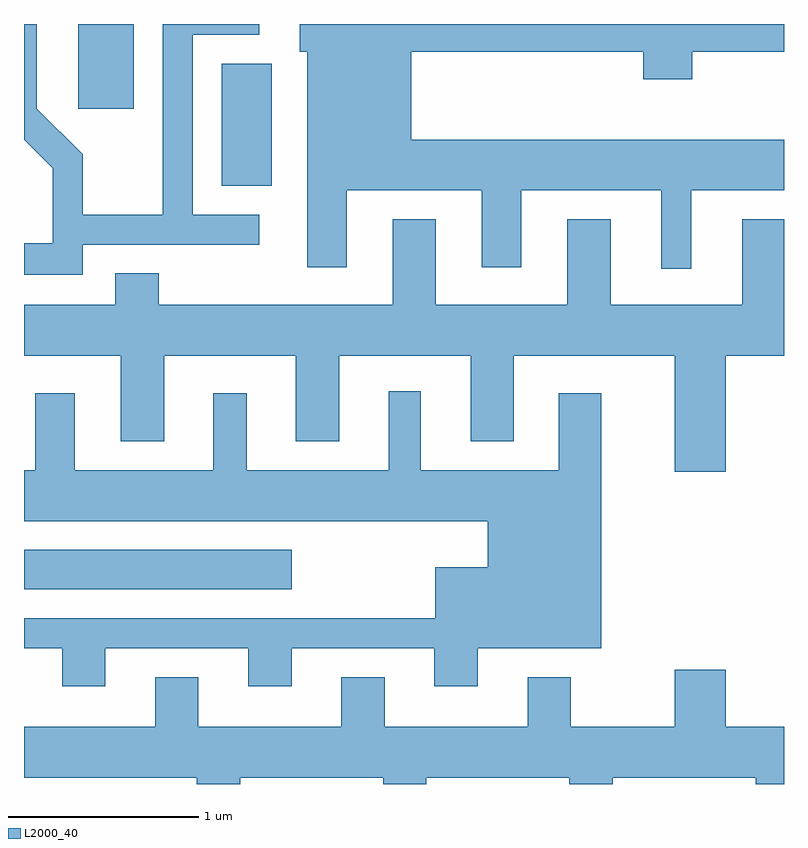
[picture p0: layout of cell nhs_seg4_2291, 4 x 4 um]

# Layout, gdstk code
import gdstk
lib = gdstk.Library(unit=1e-6, precision=1e-09)
def R(c, l, rs):  # rectangles x0, y0, x1, y1
    for r in rs: c.add(gdstk.rectangle(r[:2], r[2:], *l))
def P(c, l, *ps):  # polygons
    for p in ps: c.add(gdstk.Polygon(p, *l))
L2000_40 = (2000, 40)

nhs_seg4_2291 = lib.new_cell('nhs_seg4_2291')
R(nhs_seg4_2291, L2000_40, [(251.611,1349.006,253.019,1349.214), (252.651,1351.131,252.914,1351.774), (251.896,1351.536,252.189,1351.982)])
P(nhs_seg4_2291, L2000_40, [(251.919,1350.821),(252.848,1350.821),(252.848,1350.979),(252.499,1350.979),(252.499,1351.926),(252.848,1351.926),(252.848,1351.982),(252.341,1351.982),(252.341,1350.979),(251.919,1350.979),(251.919,1351.297),(251.679,1351.537),(251.679,1351.982),(251.611,1351.982),(251.611,1351.374),(251.761,1351.224),(251.761,1350.829),(251.611,1350.829),(251.611,1350.661),(251.919,1350.661)],
  [(255.124,1351.106),(255.611,1351.106),(255.611,1351.374),(253.649,1351.374),(253.649,1351.836),(254.871,1351.836),(254.871,1351.691),(255.129,1351.691),(255.129,1351.836),(255.611,1351.836),(255.611,1351.982),(253.061,1351.982),(253.061,1351.836),(253.101,1351.836),(253.101,1350.701),(253.309,1350.701),(253.309,1351.106),(254.021,1351.106),(254.021,1350.701),(254.229,1350.701),(254.229,1351.106),(254.966,1351.106),(254.966,1350.693),(255.124,1350.693)],
  [(252.091,1350.669),(252.091,1350.504),(251.611,1350.504),(251.611,1350.236),(252.121,1350.236),(252.121,1349.786),(252.349,1349.786),(252.349,1350.236),(253.041,1350.236),(253.041,1349.786),(253.269,1349.786),(253.269,1350.236),(253.961,1350.236),(253.961,1349.786),(254.189,1349.786),(254.189,1350.236),(255.036,1350.236),(255.036,1349.626),(255.304,1349.626),(255.304,1350.236),(255.611,1350.236),(255.611,1350.954),(255.391,1350.954),(255.391,1350.504),(254.699,1350.504),(254.699,1350.954),(254.471,1350.954),(254.471,1350.504),(253.779,1350.504),(253.779,1350.954),(253.551,1350.954),(253.551,1350.504),(252.319,1350.504),(252.319,1350.669)],
  [(252.039,1348.696),(252.791,1348.696),(252.791,1348.496),(253.019,1348.496),(253.019,1348.696),(253.771,1348.696),(253.771,1348.496),(253.999,1348.496),(253.999,1348.696),(254.649,1348.696),(254.649,1350.039),(254.426,1350.039),(254.426,1349.634),(253.699,1349.634),(253.699,1350.048),(253.531,1350.048),(253.531,1349.634),(252.784,1349.634),(252.784,1350.039),(252.606,1350.039),(252.606,1349.634),(251.879,1349.634),(251.879,1350.039),(251.671,1350.039),(251.671,1349.634),(251.611,1349.634),(251.611,1349.366),(254.051,1349.366),(254.051,1349.124),(253.776,1349.124),(253.776,1348.854),(251.611,1348.854),(251.611,1348.696),(251.811,1348.696),(251.811,1348.496),(252.039,1348.496)],
  [(252.749,1348.016),(253.501,1348.016),(253.501,1347.982),(253.729,1347.982),(253.729,1348.016),(254.481,1348.016),(254.481,1347.982),(254.709,1347.982),(254.709,1348.016),(255.461,1348.016),(255.461,1347.982),(255.611,1347.982),(255.611,1348.284),(255.304,1348.284),(255.304,1348.584),(255.036,1348.584),(255.036,1348.284),(254.489,1348.284),(254.489,1348.544),(254.261,1348.544),(254.261,1348.284),(253.509,1348.284),(253.509,1348.544),(253.281,1348.544),(253.281,1348.284),(252.529,1348.284),(252.529,1348.544),(252.301,1348.544),(252.301,1348.284),(251.611,1348.284),(251.611,1348.016),(252.521,1348.016),(252.521,1347.982),(252.749,1347.982)])

lib.write_gds('nhs_seg4_2291.gds')
